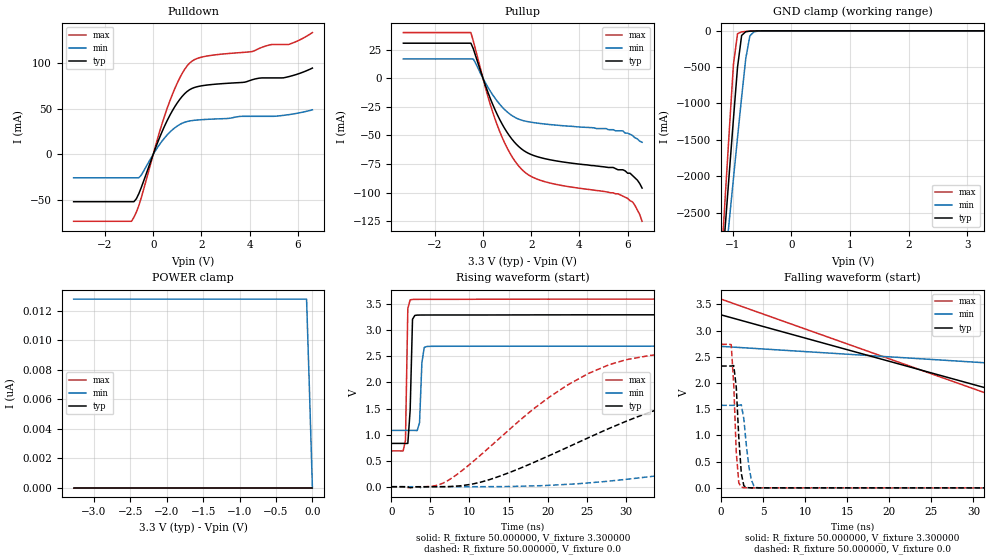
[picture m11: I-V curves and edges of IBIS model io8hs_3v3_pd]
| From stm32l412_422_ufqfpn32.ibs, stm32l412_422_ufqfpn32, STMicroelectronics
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|   Model io8hs_3v3_pd
[Model]  io8hs_3v3_pd
Model_type I/O
Polarity   Non-Inverting
Enable   Active-Low
Vinl =   0.990000V
Vinh =   2.310000V
Vmeas =  1.650000V
Cref =   100.000000nF
Rref =   1.000000k
Vref =   3.300000V
C_comp   2.267200pF   2.233100pF   2.322300pF
[Temperature Range]   25.000000   0.125000k   -40.000000
[Pullup Reference]   3.300000V   2.700000V   3.600000V
[Pulldown Reference]   0.0V   0.0V   0.0V
[POWER Clamp Reference]   3.300000V   2.700000V   3.600000V
[GND Clamp Reference]   0.0V   0.0V   0.0V
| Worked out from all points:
|   slope of the pulldown table from 0 to 0.495 V, typ, clamps not added: 15.3 ohm
|   slope of the pullup table from 0 to 0.495 V, typ, clamps not added: 18.1 ohm
|   GND clamp passes 1 mA (typ) near -0.58 V on its own axis
|   rising waveform, R_fixture 50.000000, V_fixture 3.300000: 20-80 % time 299ps typ, 253ps min, 207ps max; typ from 0.831 V to 3.3 V
|   rising waveform, R_fixture 50.000000, V_fixture 0.0: 20-80 % time 24.3ns typ, 50.8ns min, 14.5ns max; typ from 0 V to 2.32 V
|   falling waveform, R_fixture 50.000000, V_fixture 3.300000: 20-80 % time 33.4ns typ, 61.6ns min, 30.7ns max; typ from 3.3 V to 0.831 V
|   falling waveform, R_fixture 50.000000, V_fixture 0.0: 20-80 % time 498ps typ, 673ps min, 456ps max; typ from 2.32 V to 0 V
[Pulldown]
|Voltage   I(typ)   I(min)   I(max)
-3.3V     -51.86mA   -25.67mA   -73.32mA
-900mV    -51.86mA   -25.67mA   -73.32mA
-700mV    -48.68mA   -25.67mA   -63.27mA
-500mV    -36.68mA   -22.92mA   -47.9mA
200mV     14.09mA    8.363mA    18.97mA
700mV     43.2mA     24.54mA    59.15mA
1.2V      63.38mA    34mA       88.53mA
1.6V      72.01mA    36.89mA    101.8mA
4.1V      81.58mA    41.61mA    112.4mA
4.9V      83.61mA    41.61mA    120.1mA
5.6V      84.89mA    43.33mA    120.1mA
6.6V      94.39mA    48.68mA    133.3mA
[Pullup]
|Voltage   I(typ)   I(min)   I(max)
-3.3V     30.51mA    16.73mA    39.79mA
-500mV    30.51mA    16.73mA    39.79mA
-400mV    25.73mA    16.73mA    32.44mA
200mV     -11.99mA   -7.69mA    -15.6mA
500mV     -27.53mA   -17.49mA   -35.6mA
1V        -47.29mA   -29.38mA   -60.81mA
1.5V      -60.05mA   -35.95mA   -77.15mA
1.9V      -65.77mA   -38.13mA   -84.64mA
2.6V      -70.47mA   -40.14mA   -90.6mA
5.6V      -80mA      -46mA      -101mA
6.2V      -85mA      -50mA      -108mA
6.6V      -96mA      -56mA      -125mA
[GND_clamp]
|Voltage   I(typ)   I(min)   I(max)
-3.3V     -9.456A    -9.706A    -9.779A
-1.2V     -3.441A    -3.76A     -3.218A
-1.13V    -2.694A    -3.182A    -2.288A
-1.06V    -1.951A    -2.607A    -1.365A
-990mV    -1.216A    -2.035A    -464.9mA
-920mV    -500mA     -1.468A    -40.16mA
-850mV    -63.52mA   -913mA     -13.8mA
-780mV    -11.85mA   -384.3mA   -8.868mA
-710mV    -4.793mA   -70.28mA   -5.239mA
-640mV    -2.262mA   -14.31mA   -2.457mA
-430mV    -37.93uA   -161.8uA   -20.28uA
3.28V     87.11uA    89uA       71.58uA
[POWER_clamp]
|Voltage   I(typ)   I(min)   I(max)
-3.28V    0A         12.77nA    0A
-80mV     0A         12.77nA    0A
-40mV     0A         6.549nA    0A
0V        0A         0A         0A
[Ramp]
| variable   typ   min   max
dV/dt_r  1.39404/24.31899n   0.94416/54.54979n   1.64262/14.56547n
dV/dt_f  1.48081/21.07455n   0.97074/44.50667n   1.74729/13.65241n
R_load = 50.000000
[Rising Waveform]
R_fixture= 50.000000
V_fixture= 3.300000
V_fixture_min= 2.700000
V_fixture_max= 3.600000
|time   V(typ)   V(min)   V(max)
0s        830.9mV    1.081V     687.1mV
1.502ns   830.9mV    1.081V     686.2mV
1.802ns   830.5mV    1.081V     890.1mV
2.102ns   830.7mV    1.081V     3.419V
2.402ns   1.471V     1.081V     3.586V
2.703ns   3.213V     1.08V      3.593V
3.604ns   3.294V     1.23V      3.595V
3.904ns   3.294V     2.381V     3.595V
4.505ns   3.295V     2.689V     3.595V
149.5ns   3.299V     2.699V     3.599V
[Rising Waveform]
R_fixture= 50.000000
V_fixture= 0.0
V_fixture_min= 0.0
V_fixture_max= 0.0
|time   V(typ)   V(min)   V(max)
0s        2.475nV    39.58nV    2.334nV
6.607ns   913.9uV    -160.3uV   68.16mV
12.61ns   138.3mV    1.175mV    764.4mV
22.52ns   754mV      45.42mV    1.948V
27.93ns   1.121V     108.7mV    2.343V
33.33ns   1.442V     197mV      2.522V
46.85ns   1.993V     475.1mV    2.669V
64.56ns   2.218V     853.9mV    2.719V
98.5ns    2.306V     1.351V     2.736V
149.5ns   2.323V     1.574V     2.738V
[Falling Waveform]
R_fixture= 50.000000
V_fixture= 3.300000
V_fixture_min= 2.700000
V_fixture_max= 3.600000
|time   V(typ)   V(min)   V(max)
0s        3.299V     2.699V     3.599V
50.05ns   1.083V     2.199V     749.3mV
100.1ns   858.2mV    1.294V     691.5mV
150.2ns   835.9mV    1.141V     687.6mV
200.2ns   831.9mV    1.101V     687.1mV
300.3ns   830.9mV    1.083V     687.1mV
4.955us   830.9mV    1.081V     687.1mV
[Falling Waveform]
R_fixture= 50.000000
V_fixture= 0.0
V_fixture_min= 0.0
V_fixture_max= 0.0
|time   V(typ)   V(min)   V(max)
0s        2.323V     1.574V     2.738V
1.201ns   2.323V     1.574V     2.731V
1.502ns   2.331V     1.574V     1.966V
1.802ns   1.921V     1.574V     679.1mV
2.102ns   961.4mV    1.574V     95.31mV
2.402ns   274.6mV    1.584V     13.42mV
2.703ns   41.01mV    1.312V     2.637mV
3.604ns   774.4uV    146.2mV    498.7uV
4.505ns   320.9uV    2.033mV    459.9uV
149.5ns   2.475nV    39.58nV    2.334nV
